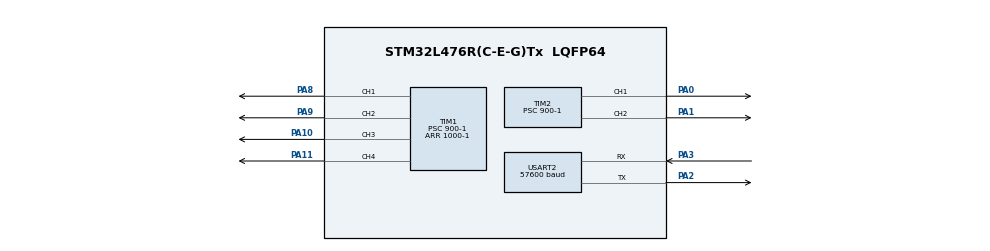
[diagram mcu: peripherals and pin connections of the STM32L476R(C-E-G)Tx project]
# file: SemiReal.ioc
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Dma.Request0=USART2_RX
Dma.Request1=USART2_TX
Dma.USART2_RX.0.Direction=DMA_PERIPH_TO_MEMORY
Dma.USART2_RX.0.Instance=DMA1_Channel6
Dma.USART2_RX.0.MemDataAlignment=DMA_MDATAALIGN_BYTE
Dma.USART2_RX.0.MemInc=DMA_MINC_ENABLE
Dma.USART2_RX.0.Mode=DMA_CIRCULAR
Dma.USART2_RX.0.PeriphDataAlignment=DMA_PDATAALIGN_BYTE
Dma.USART2_RX.0.PeriphInc=DMA_PINC_DISABLE
Dma.USART2_RX.0.Priority=DMA_PRIORITY_LOW
Dma.USART2_TX.1.Direction=DMA_MEMORY_TO_PERIPH
Dma.USART2_TX.1.Instance=DMA1_Channel7
Dma.USART2_TX.1.MemDataAlignment=DMA_MDATAALIGN_BYTE
Dma.USART2_TX.1.MemInc=DMA_MINC_ENABLE
Dma.USART2_TX.1.Mode=DMA_NORMAL
Dma.USART2_TX.1.PeriphDataAlignment=DMA_PDATAALIGN_BYTE
Dma.USART2_TX.1.PeriphInc=DMA_PINC_DISABLE
Dma.USART2_TX.1.Priority=DMA_PRIORITY_LOW
Mcu.Family=STM32L4
Mcu.Name=STM32L476R(C-E-G)Tx
Mcu.Package=LQFP64
NVIC.DMA1_Channel6_IRQn=true\:0\:0\:false\:false\:true\:false\:true\:true
NVIC.DMA1_Channel7_IRQn=true\:0\:0\:false\:false\:true\:false\:true\:true
NVIC.PriorityGroup=NVIC_PRIORITYGROUP_4
NVIC.USART2_IRQn=true\:0\:0\:false\:false\:true\:true\:true\:true
PA0.Signal=S_TIM2_CH1
PA1.Signal=S_TIM2_CH2
PA10.Signal=S_TIM1_CH3
PA11.Signal=S_TIM1_CH4
PA2.Mode=Asynchronous
PA2.Signal=USART2_TX
PA3.Mode=Asynchronous
PA3.Signal=USART2_RX
PA8.Signal=S_TIM1_CH1
PA9.Signal=S_TIM1_CH2
ProjectManager.HeapSize=0x200
ProjectManager.StackSize=0x400
ProjectManager.TargetToolchain=STM32CubeIDE
RCC.HSE_VALUE=8000000
RCC.HSI_VALUE=16000000
RCC.LSE_VALUE=32768
RCC.MSI_VALUE=4000000
RCC.VCOOutputFreq_Value=32000000
SH.S_TIM1_CH1.0=TIM1_CH1,PWM Generation1 CH1
SH.S_TIM1_CH2.0=TIM1_CH2,PWM Generation2 CH2
SH.S_TIM1_CH3.0=TIM1_CH3,PWM Generation3 CH3
SH.S_TIM1_CH4.0=TIM1_CH4,PWM Generation4 CH4
SH.S_TIM2_CH1.0=TIM2_CH1,PWM Generation1 CH1
SH.S_TIM2_CH2.0=TIM2_CH2,PWM Generation2 CH2
TIM1.AutoReloadPreload=TIM_AUTORELOAD_PRELOAD_ENABLE
TIM1.Channel-PWM\ Generation1\ CH1=TIM_CHANNEL_1
TIM1.Channel-PWM\ Generation2\ CH2=TIM_CHANNEL_2
TIM1.Channel-PWM\ Generation3\ CH3=TIM_CHANNEL_3
TIM1.Channel-PWM\ Generation4\ CH4=TIM_CHANNEL_4
TIM1.Period=1000-1
TIM1.Prescaler=900-1
TIM2.Channel-PWM\ Generation1\ CH1=TIM_CHANNEL_1
TIM2.Channel-PWM\ Generation2\ CH2=TIM_CHANNEL_2
TIM2.Period=1000-1
TIM2.Prescaler=900-1
USART2.BaudRate=57600
USART2.VirtualMode-Asynchronous=VM_ASYNC
VP_TIM1_VS_ClockSourceINT.Mode=Internal
VP_TIM2_VS_ClockSourceINT.Mode=Internal
board=custom

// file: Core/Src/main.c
/* USER CODE BEGIN Header */
/**
  ******************************************************************************
  * @file           : main.c
  * @brief          : Main program body
  ******************************************************************************
  * @attention
  *
  * Copyright (c) 2022 STMicroelectronics.
  * All rights reserved.
  *
  * This software is licensed under terms that can be found in the LICENSE file
  * in the root directory of this software component.
  * If no LICENSE file comes with this software, it is provided AS-IS.
  *
  ******************************************************************************
  */
/* USER CODE END Header */
#include "main.h"

/* USER CODE BEGIN Includes */

#include "mainpp.h"
#include "stdio.h"
#include <stdlib.h>
#include "math.h"
#include "stdint.h"
#include <string.h>
/* USER CODE END Includes */

/* USER CODE BEGIN PTD */
extern demandx;
extern demandy;
extern demandz;
/* USER CODE END PTD */

/* USER CODE BEGIN PM */
void start(TIM_HandleTypeDef contador1,TIM_HandleTypeDef contador2){
 HAL_TIM_PWM_Start(&contador1, TIM_CHANNEL_1);
 HAL_TIM_PWM_Start(&contador1, TIM_CHANNEL_2);
 HAL_TIM_PWM_Start(&contador1, TIM_CHANNEL_3);
 HAL_TIM_PWM_Start(&contador1, TIM_CHANNEL_4);
 HAL_TIM_PWM_Start(&contador2, TIM_CHANNEL_1);
 HAL_TIM_PWM_Start(&contador2, TIM_CHANNEL_2);
}

void tur_init(TIM_HandleTypeDef contador1,TIM_HandleTypeDef contador2, int cal){
	__HAL_TIM_SET_COMPARE(&contador1, TIM_CHANNEL_1, cal);
	__HAL_TIM_SET_COMPARE(&contador1, TIM_CHANNEL_2, cal);
	__HAL_TIM_SET_COMPARE(&contador1, TIM_CHANNEL_3, cal);
	__HAL_TIM_SET_COMPARE(&contador1, TIM_CHANNEL_4, cal);
	__HAL_TIM_SET_COMPARE(&contador2, TIM_CHANNEL_1, cal);
	__HAL_TIM_SET_COMPARE(&contador2, TIM_CHANNEL_2, cal);
	HAL_Delay(7000);
}

void controler(int x, int y, int z,TIM_HandleTypeDef contador1,TIM_HandleTypeDef contador2, int cal, int velpos, int velneg){
	if (x == 0 && y == 0 && z == 0){
	__HAL_TIM_SET_COMPARE(&contador1, TIM_CHANNEL_1, cal); //abajo derecha trasero
	__HAL_TIM_SET_COMPARE(&contador1, TIM_CHANNEL_2, cal); //abajo izquierda alfrente
	__HAL_TIM_SET_COMPARE(&contador1, TIM_CHANNEL_4, cal); //abajo izquierdo trasero
	__HAL_TIM_SET_COMPARE(&contador2, TIM_CHANNEL_1, cal); //abajo derecha alfrente
	__HAL_TIM_SET_COMPARE(&contador2, TIM_CHANNEL_2, cal); //arriba derecho
	__HAL_TIM_SET_COMPARE(&contador1, TIM_CHANNEL_3, cal); //ariba izquierdox
	}
	else{
	if(y == 1 ){
	__HAL_TIM_SET_COMPARE(&contador1, TIM_CHANNEL_1, velpos); //abajo derecha trasero
	__HAL_TIM_SET_COMPARE(&contador1, TIM_CHANNEL_2, velneg); //abajo izquierda alfrente
	__HAL_TIM_SET_COMPARE(&contador1, TIM_CHANNEL_4, velneg); //abajo izquierdo trasero
	__HAL_TIM_SET_COMPARE(&contador2, TIM_CHANNEL_1, velneg); //abajo derecha alfrente
	__HAL_TIM_SET_COMPARE(&contador2, TIM_CHANNEL_2, cal); //arriba derecho
	__HAL_TIM_SET_COMPARE(&contador1, TIM_CHANNEL_3, cal); //ariba izquierdox
	}
	if(y == -1){
	__HAL_TIM_SET_COMPARE(&contador1, TIM_CHANNEL_1, velneg); //abajo derecha trasero
	__HAL_TIM_SET_COMPARE(&contador1, TIM_CHANNEL_2, velpos); //abajo izquierda alfrente
	__HAL_TIM_SET_COMPARE(&contador1, TIM_CHANNEL_4, velpos); //abajo izquierdo trasero
	__HAL_TIM_SET_COMPARE(&contador2, TIM_CHANNEL_1, velpos); //abajo derecha alfrente
	__HAL_TIM_SET_COMPARE(&contador2, TIM_CHANNEL_2, cal); //arriba derecho
	__HAL_TIM_SET_COMPARE(&contador1, TIM_CHANNEL_3, cal); //ariba izquierdo
	}
	if(x == 1 ){
	__HAL_TIM_SET_COMPARE(&contador1, TIM_CHANNEL_1, velneg); //abajo derecha trasero
	__HAL_TIM_SET_COMPARE(&contador1, TIM_CHANNEL_2, velneg); //abajo izquierda alfrente
	__HAL_TIM_SET_COMPARE(&contador1, TIM_CHANNEL_4, velneg); //abajo izquierdo trasero
	__HAL_TIM_SET_COMPARE(&contador2, TIM_CHANNEL_1, velpos); //abajo derecha alfrente
	__HAL_TIM_SET_COMPARE(&contador2, TIM_CHANNEL_2, cal); //arriba derecho
	__HAL_TIM_SET_COMPARE(&contador1, TIM_CHANNEL_3, cal); //ariba izquierdo
	}
	if(x == -1){
	__HAL_TIM_SET_COMPARE(&contador1, TIM_CHANNEL_1, velpos); //abajo derecha trasero
	__HAL_TIM_SET_COMPARE(&contador1, TIM_CHANNEL_2, velpos); //abajo izquierda alfrente
	__HAL_TIM_SET_COMPARE(&contador1, TIM_CHANNEL_4, velpos); //abajo izquierdo trasero
	__HAL_TIM_SET_COMPARE(&contador2, TIM_CHANNEL_1, velneg); //abajo derecha alfrente
	__HAL_TIM_SET_COMPARE(&contador2, TIM_CHANNEL_2, cal); //arriba derecho
	__HAL_TIM_SET_COMPARE(&contador1, TIM_CHANNEL_3, cal); //ariba izquierdo
	}
	if(z == 1 ){
	__HAL_TIM_SET_COMPARE(&contador1, TIM_CHANNEL_1, cal); //abajo derecha trasero
	__HAL_TIM_SET_COMPARE(&contador1, TIM_CHANNEL_2, cal); //abajo izquierda alfrente
	__HAL_TIM_SET_COMPARE(&contador1, TIM_CHANNEL_4, cal); //abajo izquierdo trasero
	__HAL_TIM_SET_COMPARE(&contador2, TIM_CHANNEL_1, cal); //abajo derecha alfrente
	__HAL_TIM_SET_COMPARE(&contador2, TIM_CHANNEL_2, velpos); //arriba derecho
	__HAL_TIM_SET_COMPARE(&contador1, TIM_CHANNEL_3, velneg); //ariba izquierdo
	}
	if(z==-1){
	__HAL_TIM_SET_COMPARE(&contador1, TIM_CHANNEL_1, cal); //abajo derecha trasero
	__HAL_TIM_SET_COMPARE(&contador1, TIM_CHANNEL_2, cal); //abajo izquierda alfrente
	__HAL_TIM_SET_COMPARE(&contador1, TIM_CHANNEL_4, cal); //abajo izquierdo trasero
	__HAL_TIM_SET_COMPARE(&contador2, TIM_CHANNEL_1, cal); //abajo derecha alfrente
	__HAL_TIM_SET_COMPARE(&contador2, TIM_CHANNEL_2, velneg); //arriba derecho
	__HAL_TIM_SET_COMPARE(&contador1, TIM_CHANNEL_3, velpos); //ariba izquierdo
	}
	}
}

/* USER CODE END PM */

TIM_HandleTypeDef htim1;
TIM_HandleTypeDef htim2;

UART_HandleTypeDef huart2;
DMA_HandleTypeDef hdma_usart2_rx;
DMA_HandleTypeDef hdma_usart2_tx;

void SystemClock_Config(void);
static void MX_GPIO_Init(void);
static void MX_DMA_Init(void);
static void MX_USART2_UART_Init(void);
static void MX_TIM2_Init(void);
static void MX_TIM1_Init(void);

int main(void)
{

  /* MCU Configuration--------------------------------------------------------*/

  /* Reset of all peripherals, Initializes the Flash interface and the Systick. */
  HAL_Init();

  /* Configure the system clock */
  SystemClock_Config();

  /* Initialize all configured peripherals */
  MX_GPIO_Init();
  MX_DMA_Init();
  MX_USART2_UART_Init();
  MX_TIM2_Init();
  MX_TIM1_Init();
  /* USER CODE BEGIN 2 */
  //int pulse =  0;
  int zero = 75;
  int velrigth = 90;
  int velleft = 68;
  /* USER CODE END 2 */

  /* Infinite loop */
  /* USER CODE BEGIN WHILE */

  start(htim1,htim2);
  setup();
  int velx = (int)demandx;
  int vely = (int)demandy;
  int velz = (int)demandz;
  while (1)
  {
    /* USER CODE END WHILE */

    /* USER CODE BEGIN 3 */
	loop();
	tur_init(htim1,htim2,zero);
	controler(velx, vely, velz, htim1,htim2,zero,velrigth,velleft);
  }
  /* USER CODE END 3 */
}

void SystemClock_Config(void)
{
  RCC_OscInitTypeDef RCC_OscInitStruct = {0};
  RCC_ClkInitTypeDef RCC_ClkInitStruct = {0};

  /** Configure the main internal regulator output voltage
  */
  if (HAL_PWREx_ControlVoltageScaling(PWR_REGULATOR_VOLTAGE_SCALE1) != HAL_OK)
  {
    Error_Handler();
  }

  /** Initializes the RCC Oscillators according to the specified parameters
  * in the RCC_OscInitTypeDef structure.
  */
  RCC_OscInitStruct.OscillatorType = RCC_OSCILLATORTYPE_MSI;
  RCC_OscInitStruct.MSIState = RCC_MSI_ON;
  RCC_OscInitStruct.MSICalibrationValue = 0;
  RCC_OscInitStruct.MSIClockRange = RCC_MSIRANGE_6;
  RCC_OscInitStruct.PLL.PLLState = RCC_PLL_NONE;
  if (HAL_RCC_OscConfig(&RCC_OscInitStruct) != HAL_OK)
  {
    Error_Handler();
  }

  /** Initializes the CPU, AHB and APB buses clocks
  */
  RCC_ClkInitStruct.ClockType = RCC_CLOCKTYPE_HCLK|RCC_CLOCKTYPE_SYSCLK
                              |RCC_CLOCKTYPE_PCLK1|RCC_CLOCKTYPE_PCLK2;
  RCC_ClkInitStruct.SYSCLKSource = RCC_SYSCLKSOURCE_MSI;
  RCC_ClkInitStruct.AHBCLKDivider = RCC_SYSCLK_DIV1;
  RCC_ClkInitStruct.APB1CLKDivider = RCC_HCLK_DIV1;
  RCC_ClkInitStruct.APB2CLKDivider = RCC_HCLK_DIV1;

  if (HAL_RCC_ClockConfig(&RCC_ClkInitStruct, FLASH_LATENCY_0) != HAL_OK)
  {
    Error_Handler();
  }
}

static void MX_TIM1_Init(void)
{

  TIM_ClockConfigTypeDef sClockSourceConfig = {0};
  TIM_MasterConfigTypeDef sMasterConfig = {0};
  TIM_OC_InitTypeDef sConfigOC = {0};
  TIM_BreakDeadTimeConfigTypeDef sBreakDeadTimeConfig = {0};

  htim1.Instance = TIM1;
  htim1.Init.Prescaler = 900-1;
  htim1.Init.CounterMode = TIM_COUNTERMODE_UP;
  htim1.Init.Period = 1000-1;
  htim1.Init.ClockDivision = TIM_CLOCKDIVISION_DIV1;
  htim1.Init.RepetitionCounter = 0;
  htim1.Init.AutoReloadPreload = TIM_AUTORELOAD_PRELOAD_ENABLE;
  if (HAL_TIM_Base_Init(&htim1) != HAL_OK)
  {
    Error_Handler();
  }
  sClockSourceConfig.ClockSource = TIM_CLOCKSOURCE_INTERNAL;
  if (HAL_TIM_ConfigClockSource(&htim1, &sClockSourceConfig) != HAL_OK)
  {
    Error_Handler();
  }
  if (HAL_TIM_PWM_Init(&htim1) != HAL_OK)
  {
    Error_Handler();
  }
  sMasterConfig.MasterOutputTrigger = TIM_TRGO_RESET;
  sMasterConfig.MasterOutputTrigger2 = TIM_TRGO2_RESET;
  sMasterConfig.MasterSlaveMode = TIM_MASTERSLAVEMODE_DISABLE;
  if (HAL_TIMEx_MasterConfigSynchronization(&htim1, &sMasterConfig) != HAL_OK)
  {
    Error_Handler();
  }
  sConfigOC.OCMode = TIM_OCMODE_PWM1;
  sConfigOC.Pulse = 0;
  sConfigOC.OCPolarity = TIM_OCPOLARITY_HIGH;
  sConfigOC.OCNPolarity = TIM_OCNPOLARITY_HIGH;
  sConfigOC.OCFastMode = TIM_OCFAST_DISABLE;
  sConfigOC.OCIdleState = TIM_OCIDLESTATE_RESET;
  sConfigOC.OCNIdleState = TIM_OCNIDLESTATE_RESET;
  if (HAL_TIM_PWM_ConfigChannel(&htim1, &sConfigOC, TIM_CHANNEL_1) != HAL_OK)
  {
    Error_Handler();
  }
  if (HAL_TIM_PWM_ConfigChannel(&htim1, &sConfigOC, TIM_CHANNEL_2) != HAL_OK)
  {
    Error_Handler();
  }
  if (HAL_TIM_PWM_ConfigChannel(&htim1, &sConfigOC, TIM_CHANNEL_3) != HAL_OK)
  {
    Error_Handler();
  }
  if (HAL_TIM_PWM_ConfigChannel(&htim1, &sConfigOC, TIM_CHANNEL_4) != HAL_OK)
  {
    Error_Handler();
  }
  sBreakDeadTimeConfig.OffStateRunMode = TIM_OSSR_DISABLE;
  sBreakDeadTimeConfig.OffStateIDLEMode = TIM_OSSI_DISABLE;
  sBreakDeadTimeConfig.LockLevel = TIM_LOCKLEVEL_OFF;
  sBreakDeadTimeConfig.DeadTime = 0;
  sBreakDeadTimeConfig.BreakState = TIM_BREAK_DISABLE;
  sBreakDeadTimeConfig.BreakPolarity = TIM_BREAKPOLARITY_HIGH;
  sBreakDeadTimeConfig.BreakFilter = 0;
  sBreakDeadTimeConfig.Break2State = TIM_BREAK2_DISABLE;
  sBreakDeadTimeConfig.Break2Polarity = TIM_BREAK2POLARITY_HIGH;
  sBreakDeadTimeConfig.Break2Filter = 0;
  sBreakDeadTimeConfig.AutomaticOutput = TIM_AUTOMATICOUTPUT_DISABLE;
  if (HAL_TIMEx_ConfigBreakDeadTime(&htim1, &sBreakDeadTimeConfig) != HAL_OK)
  {
    Error_Handler();
  }
  HAL_TIM_MspPostInit(&htim1);

}

static void MX_TIM2_Init(void)
{

  TIM_ClockConfigTypeDef sClockSourceConfig = {0};
  TIM_MasterConfigTypeDef sMasterConfig = {0};
  TIM_OC_InitTypeDef sConfigOC = {0};

  htim2.Instance = TIM2;
  htim2.Init.Prescaler = 900-1;
  htim2.Init.CounterMode = TIM_COUNTERMODE_UP;
  htim2.Init.Period = 1000-1;
  htim2.Init.ClockDivision = TIM_CLOCKDIVISION_DIV1;
  htim2.Init.AutoReloadPreload = TIM_AUTORELOAD_PRELOAD_DISABLE;
  if (HAL_TIM_Base_Init(&htim2) != HAL_OK)
  {
    Error_Handler();
  }
  sClockSourceConfig.ClockSource = TIM_CLOCKSOURCE_INTERNAL;
  if (HAL_TIM_ConfigClockSource(&htim2, &sClockSourceConfig) != HAL_OK)
  {
    Error_Handler();
  }
  if (HAL_TIM_PWM_Init(&htim2) != HAL_OK)
  {
    Error_Handler();
  }
  sMasterConfig.MasterOutputTrigger = TIM_TRGO_RESET;
  sMasterConfig.MasterSlaveMode = TIM_MASTERSLAVEMODE_DISABLE;
  if (HAL_TIMEx_MasterConfigSynchronization(&htim2, &sMasterConfig) != HAL_OK)
  {
    Error_Handler();
  }
  sConfigOC.OCMode = TIM_OCMODE_PWM1;
  sConfigOC.Pulse = 0;
  sConfigOC.OCPolarity = TIM_OCPOLARITY_HIGH;
  sConfigOC.OCFastMode = TIM_OCFAST_DISABLE;
  if (HAL_TIM_PWM_ConfigChannel(&htim2, &sConfigOC, TIM_CHANNEL_1) != HAL_OK)
  {
    Error_Handler();
  }
  if (HAL_TIM_PWM_ConfigChannel(&htim2, &sConfigOC, TIM_CHANNEL_2) != HAL_OK)
  {
    Error_Handler();
  }
  HAL_TIM_MspPostInit(&htim2);

}

static void MX_USART2_UART_Init(void)
{

  huart2.Instance = USART2;
  huart2.Init.BaudRate = 57600;
  huart2.Init.WordLength = UART_WORDLENGTH_8B;
  huart2.Init.StopBits = UART_STOPBITS_1;
  huart2.Init.Parity = UART_PARITY_NONE;
  huart2.Init.Mode = UART_MODE_TX_RX;
  huart2.Init.HwFlowCtl = UART_HWCONTROL_NONE;
  huart2.Init.OverSampling = UART_OVERSAMPLING_16;
  huart2.Init.OneBitSampling = UART_ONE_BIT_SAMPLE_DISABLE;
  huart2.AdvancedInit.AdvFeatureInit = UART_ADVFEATURE_NO_INIT;
  if (HAL_UART_Init(&huart2) != HAL_OK)
  {
    Error_Handler();
  }

}

static void MX_DMA_Init(void)
{

  /* DMA controller clock enable */
  __HAL_RCC_DMA1_CLK_ENABLE();

  /* DMA interrupt init */
  /* DMA1_Channel6_IRQn interrupt configuration */
  HAL_NVIC_SetPriority(DMA1_Channel6_IRQn, 0, 0);
  HAL_NVIC_EnableIRQ(DMA1_Channel6_IRQn);
  /* DMA1_Channel7_IRQn interrupt configuration */
  HAL_NVIC_SetPriority(DMA1_Channel7_IRQn, 0, 0);
  HAL_NVIC_EnableIRQ(DMA1_Channel7_IRQn);

}

static void MX_GPIO_Init(void)
{

  /* GPIO Ports Clock Enable */
  __HAL_RCC_GPIOA_CLK_ENABLE();

}

void Error_Handler(void)
{
  __disable_irq();
  while (1)
  {
  }
}
